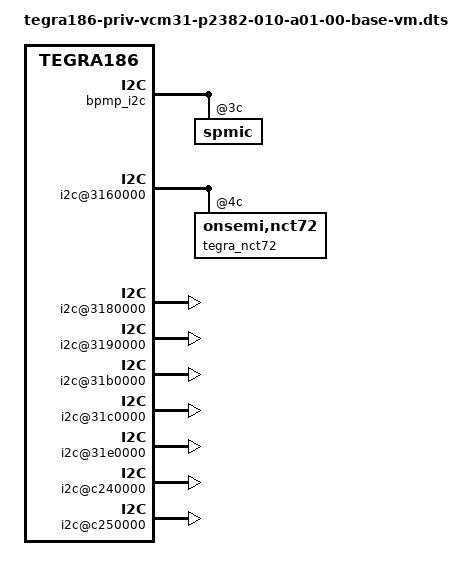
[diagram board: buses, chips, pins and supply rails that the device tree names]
/*
 * tegra186-priv-vcm31-p2382-010-a01-00-base-vm.dts: P2382(sunstreaker) base dts
 * file
 *
 * Copyright (c) 2015-2016, NVIDIA CORPORATION.  All rights reserved.
 *
 * This program is free software; you can redistribute it and/or modify
 * it under the terms of the GNU General Public License as published by
 * the Free Software Foundation; version 2 of the License.
 *
 * This program is distributed in the hope that it will be useful, but WITHOUT
 * ANY WARRANTY; without even the implied warranty of MERCHANTABILITY or
 * FITNESS FOR A PARTICULAR PURPOSE.  See the GNU General Public License for
 * more details.
 */

#include "tegra186-platforms/tegra186-vcm31-p2382-common.dtsi"
#include "tegra186-platforms/tegra186-vcm31-p2382-disp.dtsi"

/ {
	nvidia,dtsfilename = __FILE__;
	nvidia,boardids = "p2382:0010:A01";
	nvidia,proc-boardid = "p2382:0010:A01";

	tegra_hv: hyp {
		compatible = "nvidia,tegra-hv";
		status = "okay";
	};

	chosen {
		nvidia,tegra-hypervisor-mode;
	};

	bpmp {
		compatible = "nvidia,tegra186-bpmp-hv";
		ivc_queue = <&tegra_hv 0 14>;
	};

	bpmp_i2c {
                spmic: spmic@3c {
			/delete-property/ maxim,enable-sleep;
			/delete-node/ backup-battery;
		};
	};

	aon@c160000 {
		status = "disabled";
	};

	cpuidle {
		compatible = "nvidia,tegra18x-cpuidle";
		status = "disabled";
	};

	i2c@3160000 {
		compatible = "nvidia,tegra186-i2c-hv";
		ivc_queue = <&tegra_hv 33>;
		tegra_nct72: onsemi,nct72@4c {
			status = "okay";
			/delete-property/ interrupt-parent;
			/delete-property/ interrupts;
			/delete-property/ temp-alert-gpio;
		};
	};

	i2c@3180000 {
		compatible = "nvidia,tegra186-i2c-hv";
		ivc_queue = <&tegra_hv 33>;
	};

	i2c@3190000 {
		compatible = "nvidia,tegra186-i2c-hv";
		ivc_queue = <&tegra_hv 33>;
	};

	i2c@31b0000 {
		compatible = "nvidia,tegra186-i2c-hv";
		ivc_queue = <&tegra_hv 33>;
	};

	i2c@31c0000 {
		compatible = "nvidia,tegra186-i2c-hv";
		ivc_queue = <&tegra_hv 33>;
	};

	i2c@31e0000 {
		compatible = "nvidia,tegra186-i2c-hv";
		ivc_queue = <&tegra_hv 33>;
	};

	i2c@c240000 {
		compatible = "nvidia,tegra186-i2c-hv";
		ivc_queue = <&tegra_hv 33>;
	};

	i2c@c250000 {
		compatible = "nvidia,tegra186-i2c-hv";
		ivc_queue = <&tegra_hv 33>;
	};

	mc_sid@2c00000 {
		nvidia,by-pass-smmu-streamid = <0x7e>;
		status = "okay";
	};

	pmc@c370000 {
		status = "disabled";
	};

	tegra_hv_wdt {
		compatible = "nvidia,tegra-hv-wdt";
		status = "okay";
		ivc = <&tegra_hv 32>;
	};

	host1x: host1x {
		reg = <0x0 0x13e10000 0x0 0x00010000>;
		interrupts = <0 265 0x04
					0 263 0x04>;
		nvidia,vmid = <1>;

		nvidia,ch-base = <0>;
		nvidia,nb-channels = <63>;

		nvidia,nb-hw-pts = <576>;
		nvidia,pts-base = <0>;
		nvidia,nb-pts = <576>;

		vmserver-owns-engines = <1>;

		ivc-queue0 = <&tegra_hv 28>;

		vic@15340000 {
			compatible = "nvidia,tegra186-vhost-vic";
			status = "okay";
		};

		nvenc@154c0000 {
			compatible = "nvidia,tegra186-vhost-nvenc";
			status = "okay";
		};

		nvdec@15480000 {
			compatible = "nvidia,tegra186-vhost-nvdec";
			status = "okay";
		};

		nvjpg@15380000 {
			compatible = "nvidia,tegra186-vhost-nvjpg";
			status = "okay";
		};

		ctx0 {
			 status = "okay";
		};

		ctx1 {
			 status = "okay";
		};

		ctx2 {
			 status = "okay";
		};

		ctx3 {
			 status = "okay";
		};

		ctx4 {
			status = "okay";
		};

		ctx5 {
			status = "okay";
		};

		ctx6 {
			status = "okay";
		};

		ctx7 {
			status = "okay";
		};
	};

	generic-system-config {
		status = "dislabled";
	};

	dma@2600000 {
		dma-channels = <32>;
		nvidia,start-dma-channel-index = <0>;
		nvidia,stream-id = <TEGRA_SID_GPCDMA_0>;
		status = "okay";
	};

	intc: interrupt-controller@3881000 {
		reg = <0x0 0x03881000 0x0 0x00001000
		       0x0 0x03892000 0x0 0x00002000>;
	};

	gp10b {
		status = "disabled";
	};

	vgpu {
		compatible = "nvidia,tegra186-gp10b-vgpu", "nvidia,tegra124-gk20a-vgpu";
		reg = <0x0 0x18000000 0x0 0x1000000>;
		nvidia,host1x = <&host1x>;
		ivc-queue3 = <&tegra_hv 30>;
		ivc-queue4 = <&tegra_hv 31>;
		mempool3 = <&tegra_hv 0>;
	};

	thermal-zones {
		BCPU-therm {
			status = "disabled";
		};

		MCPU-therm {
			status = "disabled";
		};

		GPU-therm {
			status = "disabled";
		};

		PLL-therm {
			status = "disabled";
		};

		AO-therm {
			status = "disabled";
		};

		Tboard_tegra {
			status = "disabled";
		};

		Tdiode_tegra {
			status = "disabled";
		};
	};
	sound {
		status = "disabled";
	};

	sound_ref {
		status = "disabled";
	};

	ahub {
		status = "disabled";
	};

        adsp_audio {
                status = "disabled";
        };

        adsp@2993000 {
                status = "disabled";
        };
};
